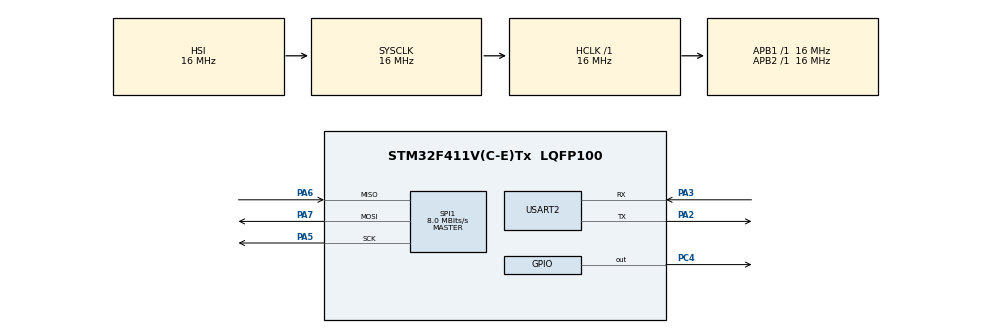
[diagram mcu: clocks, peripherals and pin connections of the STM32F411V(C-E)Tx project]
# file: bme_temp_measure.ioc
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Mcu.Family=STM32F4
Mcu.Name=STM32F411V(C-E)Tx
Mcu.Package=LQFP100
NVIC.PriorityGroup=NVIC_PRIORITYGROUP_4
PA2.Mode=Asynchronous
PA2.Signal=USART2_TX
PA3.Mode=Asynchronous
PA3.Signal=USART2_RX
PA5.Mode=Full_Duplex_Master
PA5.Signal=SPI1_SCK
PA6.Mode=Full_Duplex_Master
PA6.Signal=SPI1_MISO
PA7.Mode=Full_Duplex_Master
PA7.Signal=SPI1_MOSI
PC4.Signal=GPIO_Output
ProjectManager.HeapSize=0x200
ProjectManager.StackSize=0x400
ProjectManager.TargetToolchain=STM32CubeIDE
RCC.48MHZClocksFreq_Value=64666666.666666664
RCC.AHBFreq_Value=16000000
RCC.APB1Freq_Value=16000000
RCC.APB2Freq_Value=16000000
RCC.CortexFreq_Value=16000000
RCC.HSE_VALUE=25000000
RCC.HSI_VALUE=16000000
RCC.LSE_VALUE=32768
RCC.PLLM=8
RCC.PLLN=194
RCC.PLLP=RCC_PLLP_DIV6
RCC.PLLQ=6
RCC.SYSCLKFreq_VALUE=16000000
RCC.VCOOutputFreq_Value=388000000
SPI1.CalculateBaudRate=8.0 MBits/s
SPI1.Direction=SPI_DIRECTION_2LINES
SPI1.Mode=SPI_MODE_MASTER
SPI1.VirtualType=VM_MASTER
USART2.VirtualMode=VM_ASYNC
board=custom

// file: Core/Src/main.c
/* USER CODE BEGIN Header */
/**
  ******************************************************************************
  * @file           : main.c
  * @brief          : Main program body
  ******************************************************************************
  * @attention
  *
  * Copyright (c) 2026 STMicroelectronics.
  * All rights reserved.
  *
  * This software is licensed under terms that can be found in the LICENSE file
  * in the root directory of this software component.
  * If no LICENSE file comes with this software, it is provided AS-IS.
  *
  ******************************************************************************
  */
/* USER CODE END Header */
#include <stdio.h>
#include "main.h"
#include "bme_280.h"
#include "stdarg.h"

SPI_HandleTypeDef hspi1;

UART_HandleTypeDef huart2;

void SystemClock_Config(void);
static void MX_GPIO_Init(void);
static void MX_SPI1_Init(void);
static void MX_USART2_UART_Init(void);

/* USER CODE BEGIN 0 */
/**
 * @brief: A simple printf function that sends formatted output to UART2.
 *
 * @param format: The format string (like in printf).
 * @param ...: Additional arguments to be formatted according to the format string.
 * @return: The number of characters transmitted.
 * */
int UART_PRINT(char *format,...)
{
	va_list args;
	int len;
	char buffer[256];
	va_start(args, format);
	len = vsnprintf(buffer, sizeof(buffer), format, args);
	va_end(args);
	HAL_UART_Transmit(&huart2, (uint8_t *)buffer, len, 0xFFFF);
	return len;
}

/* USER CODE END 0 */

int main(void)
{

  /* MCU Configuration--------------------------------------------------------*/

  /* Reset of all peripherals, Initializes the Flash interface and the Systick. */
  HAL_Init();

  /* Configure the system clock */
  SystemClock_Config();

  /* Initialize all configured peripherals */
  MX_GPIO_Init();
  MX_SPI1_Init();
  MX_USART2_UART_Init();
  /* USER CODE BEGIN 2 */

  // reset the BME280 sensor
  bme280_write_register(BME280_RESET_REG, 0xB6);
  HAL_Delay(100); // Wait for the sensor to reset

  chip_id = bme280_read_register(BME280_ID_REG);
  if (chip_id != 0x60) {
	  // Handle error: chip ID does not match expected value
	  UART_PRINT("Error: BME280 chip ID mismatch. Expected 0x60, got 0x%02X\n", chip_id);
  } else {
	  UART_PRINT("BME280 chip ID verified: 0x%02X\n", chip_id);
  }

  bme280_config();
  bme280_get_comp_val();
  /* USER CODE END 2 */

  /* Infinite loop */
  while (1)
  {
//	  UART_PRINT("hello\n\r");
	  bme280_get_raw_val();
	  bme_cal_final_val();
	  HAL_Delay(100);

  }
}

void SystemClock_Config(void)
{
  RCC_OscInitTypeDef RCC_OscInitStruct = {0};
  RCC_ClkInitTypeDef RCC_ClkInitStruct = {0};

  /** Configure the main internal regulator output voltage
  */
  __HAL_RCC_PWR_CLK_ENABLE();
  __HAL_PWR_VOLTAGESCALING_CONFIG(PWR_REGULATOR_VOLTAGE_SCALE1);

  /** Initializes the RCC Oscillators according to the specified parameters
  * in the RCC_OscInitTypeDef structure.
  */
  RCC_OscInitStruct.OscillatorType = RCC_OSCILLATORTYPE_HSI;
  RCC_OscInitStruct.HSIState = RCC_HSI_ON;
  RCC_OscInitStruct.HSICalibrationValue = RCC_HSICALIBRATION_DEFAULT;
  RCC_OscInitStruct.PLL.PLLState = RCC_PLL_NONE;
  if (HAL_RCC_OscConfig(&RCC_OscInitStruct) != HAL_OK)
  {
    Error_Handler();
  }

  /** Initializes the CPU, AHB and APB buses clocks
  */
  RCC_ClkInitStruct.ClockType = RCC_CLOCKTYPE_HCLK|RCC_CLOCKTYPE_SYSCLK
                              |RCC_CLOCKTYPE_PCLK1|RCC_CLOCKTYPE_PCLK2;
  RCC_ClkInitStruct.SYSCLKSource = RCC_SYSCLKSOURCE_HSI;
  RCC_ClkInitStruct.AHBCLKDivider = RCC_SYSCLK_DIV1;
  RCC_ClkInitStruct.APB1CLKDivider = RCC_HCLK_DIV1;
  RCC_ClkInitStruct.APB2CLKDivider = RCC_HCLK_DIV1;

  if (HAL_RCC_ClockConfig(&RCC_ClkInitStruct, FLASH_LATENCY_0) != HAL_OK)
  {
    Error_Handler();
  }
}

static void MX_SPI1_Init(void)
{

  /* SPI1 parameter configuration*/
  hspi1.Instance = SPI1;
  hspi1.Init.Mode = SPI_MODE_MASTER;
  hspi1.Init.Direction = SPI_DIRECTION_2LINES;
  hspi1.Init.DataSize = SPI_DATASIZE_8BIT;
  hspi1.Init.CLKPolarity = SPI_POLARITY_LOW;
  hspi1.Init.CLKPhase = SPI_PHASE_1EDGE;
  hspi1.Init.NSS = SPI_NSS_SOFT;
  hspi1.Init.BaudRatePrescaler = SPI_BAUDRATEPRESCALER_2;
  hspi1.Init.FirstBit = SPI_FIRSTBIT_MSB;
  hspi1.Init.TIMode = SPI_TIMODE_DISABLE;
  hspi1.Init.CRCCalculation = SPI_CRCCALCULATION_DISABLE;
  hspi1.Init.CRCPolynomial = 10;
  if (HAL_SPI_Init(&hspi1) != HAL_OK)
  {
    Error_Handler();
  }

}

static void MX_USART2_UART_Init(void)
{

  huart2.Instance = USART2;
  huart2.Init.BaudRate = 115200;
  huart2.Init.WordLength = UART_WORDLENGTH_8B;
  huart2.Init.StopBits = UART_STOPBITS_1;
  huart2.Init.Parity = UART_PARITY_NONE;
  huart2.Init.Mode = UART_MODE_TX_RX;
  huart2.Init.HwFlowCtl = UART_HWCONTROL_NONE;
  huart2.Init.OverSampling = UART_OVERSAMPLING_16;
  if (HAL_UART_Init(&huart2) != HAL_OK)
  {
    Error_Handler();
  }

}

static void MX_GPIO_Init(void)
{
  GPIO_InitTypeDef GPIO_InitStruct = {0};

  /* GPIO Ports Clock Enable */
  __HAL_RCC_GPIOA_CLK_ENABLE();
  __HAL_RCC_GPIOC_CLK_ENABLE();

  /*Configure GPIO pin Output Level */
  HAL_GPIO_WritePin(GPIOC, GPIO_PIN_4, GPIO_PIN_RESET);

  /*Configure GPIO pin : PC4 */
  GPIO_InitStruct.Pin = GPIO_PIN_4;
  GPIO_InitStruct.Mode = GPIO_MODE_OUTPUT_PP;
  GPIO_InitStruct.Pull = GPIO_NOPULL;
  GPIO_InitStruct.Speed = GPIO_SPEED_FREQ_LOW;
  HAL_GPIO_Init(GPIOC, &GPIO_InitStruct);

}

void Error_Handler(void)
{
  __disable_irq();
  while (1)
  {
  }
}
